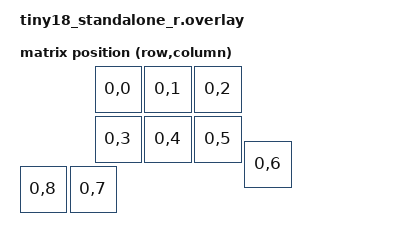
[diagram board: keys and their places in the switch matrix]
#include "../tiny18/tiny18.dtsi"

&default_transform {
    columns = <9>;
    col-offset = <0>;
    map = <RC(0,0) RC(0,1) RC(0,2) RC(0,3) RC(0,4) RC(0,5) RC(0,6) RC(0,8) RC(0,7)>;
};

&tiny18_physical_layout {
    display-name = "Standalone R";
    keys = <&key_physical_attrs 100 100  700    0       0     0     0>,
           <&key_physical_attrs 100 100  800    0       0     0     0>,
           <&key_physical_attrs 100 100  900    0       0     0     0>,
           <&key_physical_attrs 100 100  700  100       0     0     0>,
           <&key_physical_attrs 100 100  800  100       0     0     0>,
           <&key_physical_attrs 100 100  900  100       0     0     0>,
           <&key_physical_attrs 100 100 1000  150       0     0     0>,
           <&key_physical_attrs 100 100  550  200       0     0     0>,
           <&key_physical_attrs 100 100  650  200       0     0     0>;
};

&xiao_serial { status = "disabled"; };
